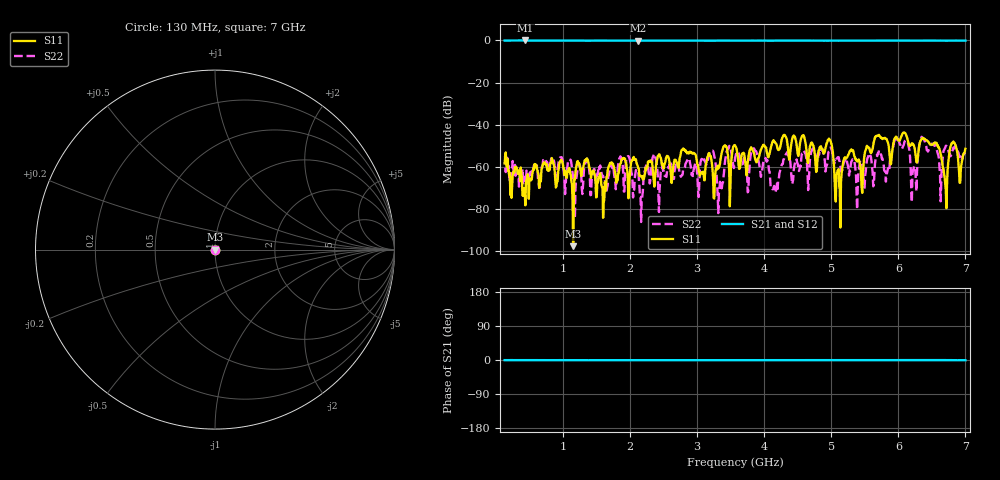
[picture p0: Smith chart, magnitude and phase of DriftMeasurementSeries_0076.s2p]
# Hz S RI R 50.000000
! Metas.Vna.Tools, 2.8.8664.20301
! Metas.Vna.Data, 2.8.8664.20285
! Created: UTC 2024.02.11 10:08:40
! FREQ  re:S1,1  im:S1,1  re:S2,1  im:S2,1  re:S1,2  im:S1,2  re:S2,2  im:S2,2
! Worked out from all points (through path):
!   801 points, 130 MHz to 7 GHz, reference 50 ohm
!   highest |S21| = -0.01 dB at 439.1 MHz (marker M1); lowest = -0.2 dB at 2.122 GHz (marker M2)
!   lowest |S11| = -97.6 dB at 1.152 GHz (marker M3), VSWR 1.00, Z = 50 + j0.00131 ohm
!   |S11| at or under -10 dB: start of sweep to end of sweep
!   |S22| runs from -86.2 to -45.7 dB; largest |S21 - S12| = 0.019
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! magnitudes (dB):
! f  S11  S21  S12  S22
! 130 MHz  -58.3  0.0  0.0  -55.6
! 439.1 MHz  -78.3  0.0  0.0  -65.0
! 971.6 MHz  -56.6  -0.1  0.0  -55.5
! 1.152 GHz  -97.6  -0.1  0.0  -65.0
! 1.281 GHz  -62.4  -0.1  0.0  -70.2
! 2.122 GHz  -60.7  -0.2  0.0  -61.9
! 2.423 GHz  -54.7  -0.1  0.0  -72.9
! 3.264 GHz  -66.4  -0.1  0.0  -56.0
! 3.342 GHz  -58.4  -0.1  0.0  -67.1
! 3.565 GHz  -49.8  -0.1  0.0  -56.3
! 4.149 GHz  -48.1  -0.1  0.0  -69.0
! 4.716 GHz  -48.6  -0.1  0.0  -51.7
! 4.982 GHz  -47.3  -0.1  0.0  -51.4
! 5.102 GHz  -61.3  -0.1  0.0  -55.4
! 5.858 GHz  -50.3  -0.1  0.0  -60.3
! 5.97 GHz  -45.7  -0.1  0.0  -46.2
! 6.236 GHz  -50.3  -0.1  0.0  -59.6
! 6.347 GHz  -46.8  -0.1  0.0  -45.7
! 6.553 GHz  -48.6  -0.1  0.0  -50.5
! 6.699 GHz  -68.3  -0.1  0.0  -50.8
! 6.802 GHz  -48.8  -0.1  0.0  -52.5
! 7 GHz  -51.4  -0.1  0.0  -53.9
